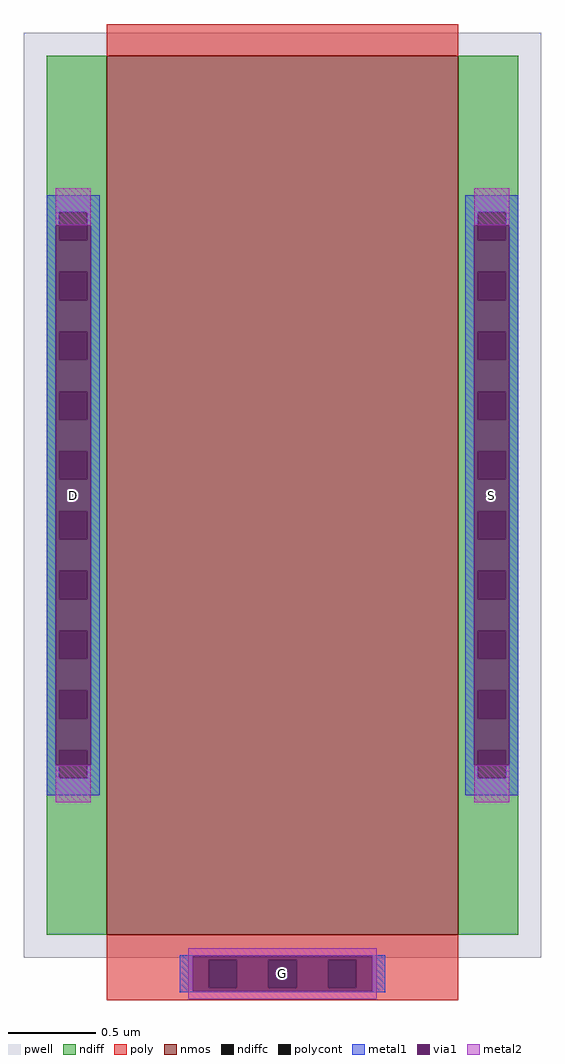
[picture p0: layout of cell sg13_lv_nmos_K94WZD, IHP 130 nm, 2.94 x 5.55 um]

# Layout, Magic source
magic
tech ihp-sg13g2
magscale 1 2
<< pwell >>
rect -294 -507 294 545
<< nmos >>
rect -200 -481 200 519
<< ndiff >>
rect -268 341 -200 519
rect -268 309 -254 341
rect -222 309 -200 341
rect -268 273 -200 309
rect -268 241 -254 273
rect -222 241 -200 273
rect -268 205 -200 241
rect -268 173 -254 205
rect -222 173 -200 205
rect -268 137 -200 173
rect -268 105 -254 137
rect -222 105 -200 137
rect -268 69 -200 105
rect -268 37 -254 69
rect -222 37 -200 69
rect -268 1 -200 37
rect -268 -31 -254 1
rect -222 -31 -200 1
rect -268 -67 -200 -31
rect -268 -99 -254 -67
rect -222 -99 -200 -67
rect -268 -135 -200 -99
rect -268 -167 -254 -135
rect -222 -167 -200 -135
rect -268 -203 -200 -167
rect -268 -235 -254 -203
rect -222 -235 -200 -203
rect -268 -271 -200 -235
rect -268 -303 -254 -271
rect -222 -303 -200 -271
rect -268 -481 -200 -303
rect 200 341 268 519
rect 200 309 222 341
rect 254 309 268 341
rect 200 273 268 309
rect 200 241 222 273
rect 254 241 268 273
rect 200 205 268 241
rect 200 173 222 205
rect 254 173 268 205
rect 200 137 268 173
rect 200 105 222 137
rect 254 105 268 137
rect 200 69 268 105
rect 200 37 222 69
rect 254 37 268 69
rect 200 1 268 37
rect 200 -31 222 1
rect 254 -31 268 1
rect 200 -67 268 -31
rect 200 -99 222 -67
rect 254 -99 268 -67
rect 200 -135 268 -99
rect 200 -167 222 -135
rect 254 -167 268 -135
rect 200 -203 268 -167
rect 200 -235 222 -203
rect 254 -235 268 -203
rect 200 -271 268 -235
rect 200 -303 222 -271
rect 254 -303 268 -271
rect 200 -481 268 -303
<< ndiffc >>
rect -254 309 -222 341
rect -254 241 -222 273
rect -254 173 -222 205
rect -254 105 -222 137
rect -254 37 -222 69
rect -254 -31 -222 1
rect -254 -99 -222 -67
rect -254 -167 -222 -135
rect -254 -235 -222 -203
rect -254 -303 -222 -271
rect 222 309 254 341
rect 222 241 254 273
rect 222 173 254 205
rect 222 105 254 137
rect 222 37 254 69
rect 222 -31 254 1
rect 222 -99 254 -67
rect 222 -167 254 -135
rect 222 -235 254 -203
rect 222 -303 254 -271
<< poly >>
rect -200 519 200 555
rect -200 -509 200 -481
rect -200 -541 -84 -509
rect -52 -541 -16 -509
rect 16 -541 52 -509
rect 84 -541 200 -509
rect -200 -555 200 -541
<< polycont >>
rect -84 -541 -52 -509
rect -16 -541 16 -509
rect 52 -541 84 -509
<< metal1 >>
rect -268 341 -208 360
rect -268 326 -254 341
rect -222 326 -208 341
rect -268 -288 -258 326
rect -218 -288 -208 326
rect -268 -303 -254 -288
rect -222 -303 -208 -288
rect -268 -322 -208 -303
rect 208 341 268 360
rect 208 326 222 341
rect 254 326 268 341
rect 208 -288 218 326
rect 258 -288 268 326
rect 208 -303 222 -288
rect 254 -303 268 -288
rect 208 -322 268 -303
rect -117 -505 117 -504
rect -117 -545 -102 -505
rect 102 -545 117 -505
rect -117 -546 117 -545
<< via1 >>
rect -258 309 -254 326
rect -254 309 -222 326
rect -222 309 -218 326
rect -258 273 -218 309
rect -258 241 -254 273
rect -254 241 -222 273
rect -222 241 -218 273
rect -258 205 -218 241
rect -258 173 -254 205
rect -254 173 -222 205
rect -222 173 -218 205
rect -258 137 -218 173
rect -258 105 -254 137
rect -254 105 -222 137
rect -222 105 -218 137
rect -258 69 -218 105
rect -258 37 -254 69
rect -254 37 -222 69
rect -222 37 -218 69
rect -258 1 -218 37
rect -258 -31 -254 1
rect -254 -31 -222 1
rect -222 -31 -218 1
rect -258 -67 -218 -31
rect -258 -99 -254 -67
rect -254 -99 -222 -67
rect -222 -99 -218 -67
rect -258 -135 -218 -99
rect -258 -167 -254 -135
rect -254 -167 -222 -135
rect -222 -167 -218 -135
rect -258 -203 -218 -167
rect -258 -235 -254 -203
rect -254 -235 -222 -203
rect -222 -235 -218 -203
rect -258 -271 -218 -235
rect -258 -288 -254 -271
rect -254 -288 -222 -271
rect -222 -288 -218 -271
rect 218 309 222 326
rect 222 309 254 326
rect 254 309 258 326
rect 218 273 258 309
rect 218 241 222 273
rect 222 241 254 273
rect 254 241 258 273
rect 218 205 258 241
rect 218 173 222 205
rect 222 173 254 205
rect 254 173 258 205
rect 218 137 258 173
rect 218 105 222 137
rect 222 105 254 137
rect 254 105 258 137
rect 218 69 258 105
rect 218 37 222 69
rect 222 37 254 69
rect 254 37 258 69
rect 218 1 258 37
rect 218 -31 222 1
rect 222 -31 254 1
rect 254 -31 258 1
rect 218 -67 258 -31
rect 218 -99 222 -67
rect 222 -99 254 -67
rect 254 -99 258 -67
rect 218 -135 258 -99
rect 218 -167 222 -135
rect 222 -167 254 -135
rect 254 -167 258 -135
rect 218 -203 258 -167
rect 218 -235 222 -203
rect 222 -235 254 -203
rect 254 -235 258 -203
rect 218 -271 258 -235
rect 218 -288 222 -271
rect 222 -288 254 -271
rect 254 -288 258 -271
rect -102 -509 102 -505
rect -102 -541 -84 -509
rect -84 -541 -52 -509
rect -52 -541 -16 -509
rect -16 -541 16 -509
rect 16 -541 52 -509
rect 52 -541 84 -509
rect 84 -541 102 -509
rect -102 -545 102 -541
<< metal2 >>
rect -258 326 -218 368
rect -258 -330 -218 -288
rect 218 326 258 368
rect 218 -330 258 -288
rect -107 -505 107 -496
rect -107 -545 -102 -505
rect 102 -545 107 -505
rect -107 -554 107 -545
<< labels >>
rlabel metal1 s -238 19 -238 19 4 D
rlabel metal1 s 238 19 238 19 4 S
rlabel metal1 s 0 -525 0 -525 4 G
<< end >>
